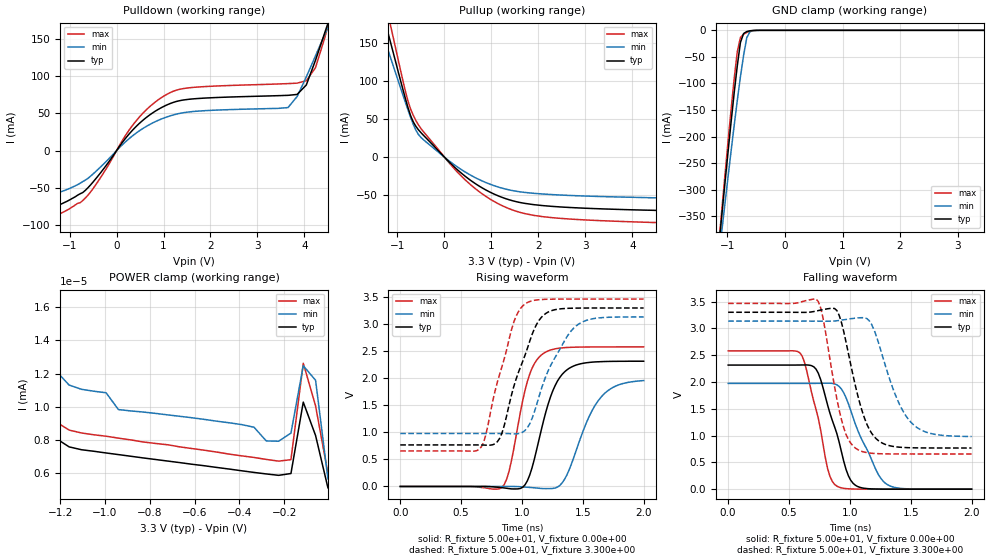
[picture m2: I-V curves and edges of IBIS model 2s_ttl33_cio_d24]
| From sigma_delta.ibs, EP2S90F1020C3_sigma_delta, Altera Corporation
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[Model] 2s_ttl33_cio_d24
Model_type I/O
Vinl  = 0.8
Vinh  = 1.7
Vmeas = 1.5675
Rref  = 1M
Cref  = 0pF
Vref  = 0
C_comp  3.00pF  NA  NA
[Temperature Range]  25.000   85.000   0.000
[Voltage Range]   3.300   3.135   3.465
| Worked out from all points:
|   slope of the pulldown table from 0 to 0.495 V, typ, clamps not added: 13.3 ohm
|   slope of the pullup table from 0 to 0.495 V, typ, clamps not added: 17.9 ohm
|   GND clamp passes 1 mA (typ) near -0.62 V on its own axis
|   rising waveform, R_fixture 5.00e+01, V_fixture 0.00e+00: 20-80 % time 173ps typ, 218ps min, 145ps max; typ from 0 V to 2.31 V
|   falling waveform, R_fixture 5.00e+01, V_fixture 0.00e+00: 20-80 % time 173ps typ, 218ps min, 145ps max; typ from 2.31 V to 0 V
|   rising waveform, R_fixture 5.00e+01, V_fixture 3.300e+00: 20-80 % time 210ps typ, 246ps min, 187ps max; typ from 0.768 V to 3.3 V
|   falling waveform, R_fixture 5.00e+01, V_fixture 3.300e+00: 20-80 % time 165ps typ, 209ps min, 139ps max; typ from 3.3 V to 0.768 V
[GND_Clamp]
| voltage   I(typ)   I(min)   I(max)
-3.3V     -2.907A    -2.551A    -3.109A
-1.16V    -416.6mA   -435.9mA   -412.4mA
-1.105V   -355mA     -383.5mA   -345.6mA
-1.05V    -294mA     -331.6mA   -279.5mA
-940mV    -175.2mA   -229.6mA   -151.6mA
-830mV    -67.05mA   -132.2mA   -40.56mA
-775mV    -22.77mA   -87.29mA   -13.36mA
-720mV    -6.04mA    -47.16mA   -7.238mA
-665mV    -2.278mA   -13.9mA    -4.022mA
-610mV    -835.8uA   -2.708mA   -1.836mA
-500mV    -67.54uA   -125.9uA   -161.4uA
3.455V    6.496nA    8.848nA    5.534nA
[Pulldown]
| voltage   I(typ)   I(min)   I(max)
-3.3V     -87mA      -70mA      -98mA
-1.935V   -85mA      -67mA      -99mA
-775mV    -57.78mA   -43.65mA   -69.77mA
-445mV    -37.88mA   -28.06mA   -45.94mA
435mV     33.55mA    24.4mA     41.37mA
1.205V    64.68mA    47.87mA    79.64mA
3.65V     74.22mA    57.81mA    89.96mA
4.04V     88.11mA    98.92mA    93.77mA
4.235V    121.1mA    127mA      111.2mA
4.43V     157.6mA    155.4mA    150.9mA
4.625V    194.1mA    183.8mA    194.7mA
6.6V      564.1mA    487.1mA    628.3mA
[POWER_Clamp]
|voltage   I(typ)   I(min)   I(max)
-3.3V     144.2uA    77.94uA    202.6uA
-1.325V   16.38nA    21.41nA    18.62nA
-1.27V    9.914nA    14.61nA    11.04nA
-1.215V   8.06nA     12.11nA    9.06nA
-1.16V    7.58nA     11.31nA    8.594nA
-940mV    7.114nA    9.832nA    8.107nA
-335mV    6.037nA    8.768nA    6.941nA
-280mV    5.946nA    7.937nA    6.822nA
-170mV    5.971nA    8.412nA    6.808nA
-115mV    10.28nA    12.47nA    12.63nA
-60mV     8.263nA    11.6nA     10.05nA
-5mV      5.11nA     5.657nA    5.979nA
[Pullup]
| voltage   I(typ)   I(min)   I(max)
-3.3V     606mA      501.5mA    699.3mA
-1.38V    204.4mA    173.7mA    235.8mA
-1.215V   166.3mA    143.2mA    191.3mA
-1.16V    153.5mA    132.9mA    176.2mA
-1.105V   140.6mA    122.7mA    161.1mA
-775mV    64.77mA    61.71mA    73.31mA
-665mV    46.4mA     43.33mA    55.05mA
-555mV    36.04mA    29.82mA    42.45mA
435mV     -24.74mA   -19.22mA   -29.35mA
1.315V    -54.68mA   -42.06mA   -66.04mA
2.48V     -65.37mA   -49.72mA   -80.36mA
6.6V      -75mA      -58mA      -91mA
[Rising Waveform]
R_fixture = 5.00e+01
V_fixture = 0.00e+00
V_fixture_min = 0.00e+00
V_fixture_max = 0.00e+00
|Time   Typ(v)   Min(v)   Max(v)
0s        0V         0V         0V
836ps     -22.54mV   136.8uV    -16.58mV
893ps     -39.6mV    887.7uV    271.5mV
1.007ns   -12.95mV   -8.355mV   1.596V
1.064ns   212.1mV    -17.98mV   2.078V
1.216ns   1.528V     -40.15mV   2.506V
1.292ns   1.949V     -11.08mV   2.552V
1.425ns   2.227V     531.5mV    2.574V
1.651ns   2.307V     1.655V     2.579V
2ns       2.315V     1.957V     2.58V
[Falling Waveform]
R_fixture = 5.00e+01
V_fixture = 0.00e+00
V_fixture_min = 0.00e+00
V_fixture_max = 0.00e+00
|Time   Typ(v)   Min(v)   Max(v)
0s        2.315V     1.973V     2.58V
589ps     2.316V     1.973V     2.543V
627ps     2.317V     1.973V     2.368V
741ps     2.161V     1.974V     1.32V
817ps     1.57V      1.977V     385mV
893ps     1.038V     1.947V     57.07mV
969ps     365.7mV    1.703V     10.31mV
1.026ns   110.3mV    1.34V      3.105mV
1.292ns   601uV      110.3mV    -263.9nV
2ns       -16.16uV   -34.35uV   -2.951uV
[Rising Waveform]
R_fixture = 5.00e+01
V_fixture = 3.300e+00
V_fixture_min = 3.135e+00
V_fixture_max = 3.465e+00
|Time   Typ(v)   Min(v)   Max(v)
0s        767.7mV    979.5mV    656.1mV
665ps     767.1mV    979.5mV    728.2mV
817ps     889.8mV    979.7mV    2.076V
931ps     1.832V     972.2mV    3.026V
1.026ns   2.431V     1.036V     3.375V
1.102ns   2.914V     1.377V     3.441V
1.178ns   3.167V     1.927V     3.458V
1.425ns   3.296V     2.926V     3.464V
1.601ns   3.299V     3.107V     3.464V
2ns       3.299V     3.134V     3.464V
[Falling Waveform]
R_fixture = 5.00e+01
V_fixture = 3.300e+00
V_fixture_min = 3.135e+00
V_fixture_max = 3.465e+00
|Time   Typ(v)   Min(v)   Max(v)
0s        3.3V       3.135V     3.465V
722ps     3.322V     3.134V     3.546V
779ps     3.349V     3.133V     3.197V
912ps     3.244V     3.148V     1.478V
1.007ns   2.324V     3.179V     857.9mV
1.14ns    1.21V      3.182V     681.2mV
1.254ns   874.9mV    2.59V      660.5mV
1.387ns   787.7mV    1.687V     656.7mV
1.501ns   772.6mV    1.25V      656.3mV
2ns       767.7mV    982.3mV    656.1mV
[Ramp]
dV/dt_r 1.361e+000/1.710e-010 1.171e+000/2.200e-010 1.404e+000/1.330e-010
dV/dt_f 1.616e+000/1.710e-010 1.439e+000/2.280e-010 1.901e+000/1.520e-010
